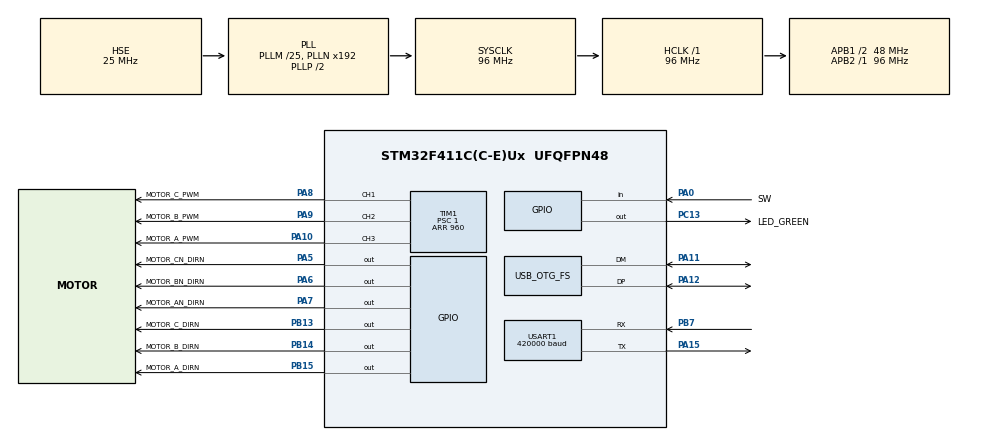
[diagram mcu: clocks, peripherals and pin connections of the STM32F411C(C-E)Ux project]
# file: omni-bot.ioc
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Dma.Request0=USART1_RX
Dma.USART1_RX.0.Direction=DMA_PERIPH_TO_MEMORY
Dma.USART1_RX.0.FIFOMode=DMA_FIFOMODE_DISABLE
Dma.USART1_RX.0.Instance=DMA2_Stream2
Dma.USART1_RX.0.MemDataAlignment=DMA_MDATAALIGN_BYTE
Dma.USART1_RX.0.MemInc=DMA_MINC_ENABLE
Dma.USART1_RX.0.Mode=DMA_NORMAL
Dma.USART1_RX.0.PeriphDataAlignment=DMA_PDATAALIGN_BYTE
Dma.USART1_RX.0.PeriphInc=DMA_PINC_DISABLE
Dma.USART1_RX.0.Priority=DMA_PRIORITY_LOW
Mcu.Family=STM32F4
Mcu.Name=STM32F411C(C-E)Ux
Mcu.Package=UFQFPN48
NVIC.DMA2_Stream2_IRQn=true\:0\:0\:false\:false\:true\:false\:true\:true
NVIC.OTG_FS_IRQn=true\:0\:0\:false\:false\:true\:false\:true\:true
NVIC.PriorityGroup=NVIC_PRIORITYGROUP_4
NVIC.TIM1_UP_TIM10_IRQn=true\:0\:0\:false\:false\:true\:true\:true\:true
NVIC.USART1_IRQn=true\:5\:0\:true\:false\:true\:true\:true\:true
PA0-WKUP.GPIO_Label=SW
PA0-WKUP.GPIO_PuPd=GPIO_PULLUP
PA0-WKUP.Signal=GPIO_Input
PA10.GPIO_Label=MOTOR_A_PWM
PA10.Signal=S_TIM1_CH3
PA11.Mode=Device_Only
PA11.Signal=USB_OTG_FS_DM
PA12.Mode=Device_Only
PA12.Signal=USB_OTG_FS_DP
PA13.Mode=Trace_Asynchronous_SW
PA13.Signal=SYS_JTMS-SWDIO
PA14.Mode=Trace_Asynchronous_SW
PA14.Signal=SYS_JTCK-SWCLK
PA15.Mode=Asynchronous
PA15.Signal=USART1_TX
PA5.GPIO_Label=MOTOR_CN_DIRN
PA5.Signal=GPIO_Output
PA6.GPIO_Label=MOTOR_BN_DIRN
PA6.Signal=GPIO_Output
PA7.GPIO_Label=MOTOR_AN_DIRN
PA7.Signal=GPIO_Output
PA8.GPIO_Label=MOTOR_C_PWM
PA8.Signal=S_TIM1_CH1
PA9.GPIO_Label=MOTOR_B_PWM
PA9.Signal=S_TIM1_CH2
PB13.GPIO_Label=MOTOR_C_DIRN
PB13.Signal=GPIO_Output
PB14.GPIO_Label=MOTOR_B_DIRN
PB14.Signal=GPIO_Output
PB15.GPIO_Label=MOTOR_A_DIRN
PB15.Signal=GPIO_Output
PB3.Mode=Trace_Asynchronous_SW
PB3.Signal=SYS_JTDO-SWO
PB7.GPIO_ModeDefaultPP=GPIO_MODE_AF_PP
PB7.Mode=Asynchronous
PB7.Signal=USART1_RX
PC13-ANTI_TAMP.GPIO_Label=LED_GREEN
PC13-ANTI_TAMP.Signal=GPIO_Output
PC14-OSC32_IN.Mode=LSE-External-Oscillator
PC14-OSC32_IN.Signal=RCC_OSC32_IN
PC15-OSC32_OUT.Mode=LSE-External-Oscillator
PC15-OSC32_OUT.Signal=RCC_OSC32_OUT
PH0\ -\ OSC_IN.Mode=HSE-External-Oscillator
PH0\ -\ OSC_IN.Signal=RCC_OSC_IN
PH1\ -\ OSC_OUT.Mode=HSE-External-Oscillator
PH1\ -\ OSC_OUT.Signal=RCC_OSC_OUT
ProjectManager.HeapSize=0x200
ProjectManager.StackSize=0x400
ProjectManager.TargetToolchain=STM32CubeIDE
RCC.48MHZClocksFreq_Value=48000000
RCC.AHBFreq_Value=96000000
RCC.APB1CLKDivider=RCC_HCLK_DIV2
RCC.APB1Freq_Value=48000000
RCC.APB1TimFreq_Value=96000000
RCC.APB2Freq_Value=96000000
RCC.APB2TimFreq_Value=96000000
RCC.CortexFreq_Value=96000000
RCC.HCLKFreq_Value=96000000
RCC.HSE_VALUE=25000000
RCC.HSI_VALUE=16000000
RCC.PLLM=25
RCC.SYSCLKFreq_VALUE=96000000
RCC.SYSCLKSource=RCC_SYSCLKSOURCE_PLLCLK
RCC.VCOOutputFreq_Value=192000000
SH.S_TIM1_CH1.0=TIM1_CH1,PWM Generation1 CH1
SH.S_TIM1_CH2.0=TIM1_CH2,PWM Generation2 CH2
SH.S_TIM1_CH3.0=TIM1_CH3,PWM Generation3 CH3
TIM1.Channel-PWM\ Generation1\ CH1=TIM_CHANNEL_1
TIM1.Channel-PWM\ Generation2\ CH2=TIM_CHANNEL_2
TIM1.Channel-PWM\ Generation3\ CH3=TIM_CHANNEL_3
TIM1.Period=960
TIM1.Prescaler=1
TIM1.Pulse-PWM\ Generation1\ CH1=480
TIM1.Pulse-PWM\ Generation2\ CH2=480
TIM1.Pulse-PWM\ Generation3\ CH3=480
USART1.BaudRate=420000
USART1.VirtualMode=VM_ASYNC
USB_DEVICE.CLASS_NAME_FS=CDC
USB_DEVICE.VirtualMode=Cdc
USB_DEVICE.VirtualModeFS=Cdc_FS
USB_OTG_FS.VirtualMode=Device_Only
VP_TIM1_VS_ClockSourceINT.Mode=Internal
VP_USB_DEVICE_VS_USB_DEVICE_CDC_FS.Mode=CDC_FS
board=custom

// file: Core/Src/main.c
/* USER CODE BEGIN Header */
/**
 ******************************************************************************
 * @file           : main.c
 * @brief          : Main program body
 ******************************************************************************
 * @attention
 *
 * Copyright (c) 2023 STMicroelectronics.
 * All rights reserved.
 *
 * This software is licensed under terms that can be found in the LICENSE file
 * in the root directory of this software component.
 * If no LICENSE file comes with this software, it is provided AS-IS.
 *
 ******************************************************************************
 */
/* USER CODE END Header */
#include "main.h"
#include "dma.h"
#include "tim.h"
#include "usart.h"
#include "usb_device.h"
#include "gpio.h"

/* USER CODE BEGIN Includes */
#include "usbd_cdc_if.h"
#include "crsf.h"
#include <math.h>
#include "motors.h"
/* USER CODE END Includes */

/* USER CODE BEGIN PD */
#define DEADZONE 0.05
/* USER CODE END PD */

/* USER CODE BEGIN PV */
uint8_t uart_data[CRSF_MAX_PACKET_SIZE];

/* USER CODE END PV */

void SystemClock_Config(void);
/* USER CODE BEGIN PFP */

// TODO: Split most of this out into a control loop (task?), instead of when packet is received
void CRSF_OnPacketChannels(uint16_t* channels)
{
	char buf[21];
	uint8_t len = sprintf(buf, "%d %d %d %d\n", channels[0], channels[1], channels[2], channels[3]);
	CDC_Transmit_FS((uint8_t *)buf, len);

	float throttle = (channels[0] - 1000.0f) / 1000.0f;

	if (throttle < DEADZONE)
	{
		throttle = 0.0f;
	}

	// throttle, roll, pitch, yaw
	float sticks[4] = {};
	sticks[0] = throttle;

	for (uint8_t i = 1; i < 4; ++i)
	{
		sticks[i] = (channels[i] - 1500.0f) / 500.0f;
		if (sticks[i] < DEADZONE && sticks[i] > -DEADZONE)
		{
			sticks[i] = 0.0f;
		}
	}

	// Rotation is also scaled by throttle
	float rotation = sticks[3] * throttle;
	// "air mode" aka you can spin at zero throttle
	if (throttle < 0.3f)
	{
		rotation = sticks[3] * 0.3f;
	}

	// Right stick controls direction
	float angle = atan2f(sticks[2], sticks[1]);
	float mag = sqrtf(sticks[2]*sticks[2] + sticks[1]*sticks[1]);
	if (mag > 1.0f)
	{
		mag = 1.0f;
	}

	// If right stick has barely moved, don't translate
#define MAG_THROTTLE_ZONE 0.4f
	if (mag < 0.1)
	{
		throttle = 0.0f;
	}
	// Pushing hard on the right stick, increase the throttle
	else if (mag > MAG_THROTTLE_ZONE)
	{
		// Mag starts to contribute to (half) the "remaining" throttle
		throttle += 0.5f * (1-throttle) * ((mag - MAG_THROTTLE_ZONE) / (1 - MAG_THROTTLE_ZONE));
	}

	Motors_SetMovement(throttle, angle, rotation);
}

/* USER CODE END PFP */

/* USER CODE BEGIN 0 */
// TODO: Capture these in the original interrupt handler instead of using the (slow) callback
void DMA_USART_TransferCompleteCallback(struct __DMA_HandleTypeDef * hdma)
{
	HAL_UARTEx_RxEventCallback(NULL, CRSF_MAX_PACKET_SIZE);
}

// UART Idle callback
void HAL_UARTEx_RxEventCallback(UART_HandleTypeDef *huart, uint16_t Size)
{
	// Setup to capture the next frame
	HAL_UARTEx_ReceiveToIdle_DMA(&huart1, uart_data, 64);

	// We've hit the end of a frame
	// All the data is stored in the DMA buffer
	// Just to be safe, lets copy it over into a temp buffer so we can load data into the uart_data buffer simultaneously
	uint8_t rxBuf[64];
	memcpy(rxBuf, uart_data, Size);

	CRSF_BytesReceived(rxBuf, Size);
}

/* USER CODE END 0 */

int main(void)
{

  /* MCU Configuration--------------------------------------------------------*/

  /* Reset of all peripherals, Initializes the Flash interface and the Systick. */
  HAL_Init();

  /* Configure the system clock */
  SystemClock_Config();

  /* Initialize all configured peripherals */
  MX_GPIO_Init();
  MX_DMA_Init();
  MX_USART1_UART_Init();
  MX_USB_DEVICE_Init();
  MX_TIM1_Init();
  /* USER CODE BEGIN 2 */

	CRSF_Init();

	// Ensure motors off to start
	Motors_SetDuty(0.0f, 0.0f, 0.0f);

	HAL_TIM_PWM_Start_IT(&htim1, TIM_CHANNEL_1);
	HAL_TIM_PWM_Start_IT(&htim1, TIM_CHANNEL_2);
	HAL_TIM_PWM_Start_IT(&htim1, TIM_CHANNEL_3);

	// Set the DMA transfer complete callback
	hdma_usart1_rx.XferCpltCallback = &DMA_USART_TransferCompleteCallback;
	HAL_UARTEx_ReceiveToIdle_DMA(&huart1, uart_data, 64);

  /* USER CODE END 2 */

  /* Infinite loop */
	while (1)
	{

    /* USER CODE BEGIN 3 */

		uint8_t state = HAL_GPIO_ReadPin(SW_GPIO_Port, SW_Pin);
		HAL_GPIO_WritePin(LED_GREEN_GPIO_Port, LED_GREEN_Pin, state);
	}
  /* USER CODE END 3 */
}

void SystemClock_Config(void)
{
  RCC_OscInitTypeDef RCC_OscInitStruct = {0};
  RCC_ClkInitTypeDef RCC_ClkInitStruct = {0};

  /** Configure the main internal regulator output voltage
  */
  __HAL_RCC_PWR_CLK_ENABLE();
  __HAL_PWR_VOLTAGESCALING_CONFIG(PWR_REGULATOR_VOLTAGE_SCALE1);

  /** Initializes the RCC Oscillators according to the specified parameters
  * in the RCC_OscInitTypeDef structure.
  */
  RCC_OscInitStruct.OscillatorType = RCC_OSCILLATORTYPE_HSE;
  RCC_OscInitStruct.HSEState = RCC_HSE_ON;
  RCC_OscInitStruct.PLL.PLLState = RCC_PLL_ON;
  RCC_OscInitStruct.PLL.PLLSource = RCC_PLLSOURCE_HSE;
  RCC_OscInitStruct.PLL.PLLM = 25;
  RCC_OscInitStruct.PLL.PLLN = 192;
  RCC_OscInitStruct.PLL.PLLP = RCC_PLLP_DIV2;
  RCC_OscInitStruct.PLL.PLLQ = 4;
  if (HAL_RCC_OscConfig(&RCC_OscInitStruct) != HAL_OK)
  {
    Error_Handler();
  }

  /** Initializes the CPU, AHB and APB buses clocks
  */
  RCC_ClkInitStruct.ClockType = RCC_CLOCKTYPE_HCLK|RCC_CLOCKTYPE_SYSCLK
                              |RCC_CLOCKTYPE_PCLK1|RCC_CLOCKTYPE_PCLK2;
  RCC_ClkInitStruct.SYSCLKSource = RCC_SYSCLKSOURCE_PLLCLK;
  RCC_ClkInitStruct.AHBCLKDivider = RCC_SYSCLK_DIV1;
  RCC_ClkInitStruct.APB1CLKDivider = RCC_HCLK_DIV2;
  RCC_ClkInitStruct.APB2CLKDivider = RCC_HCLK_DIV1;

  if (HAL_RCC_ClockConfig(&RCC_ClkInitStruct, FLASH_LATENCY_3) != HAL_OK)
  {
    Error_Handler();
  }
}

void Error_Handler(void)
{
	__disable_irq();
	while (1)
	{
	}
}
